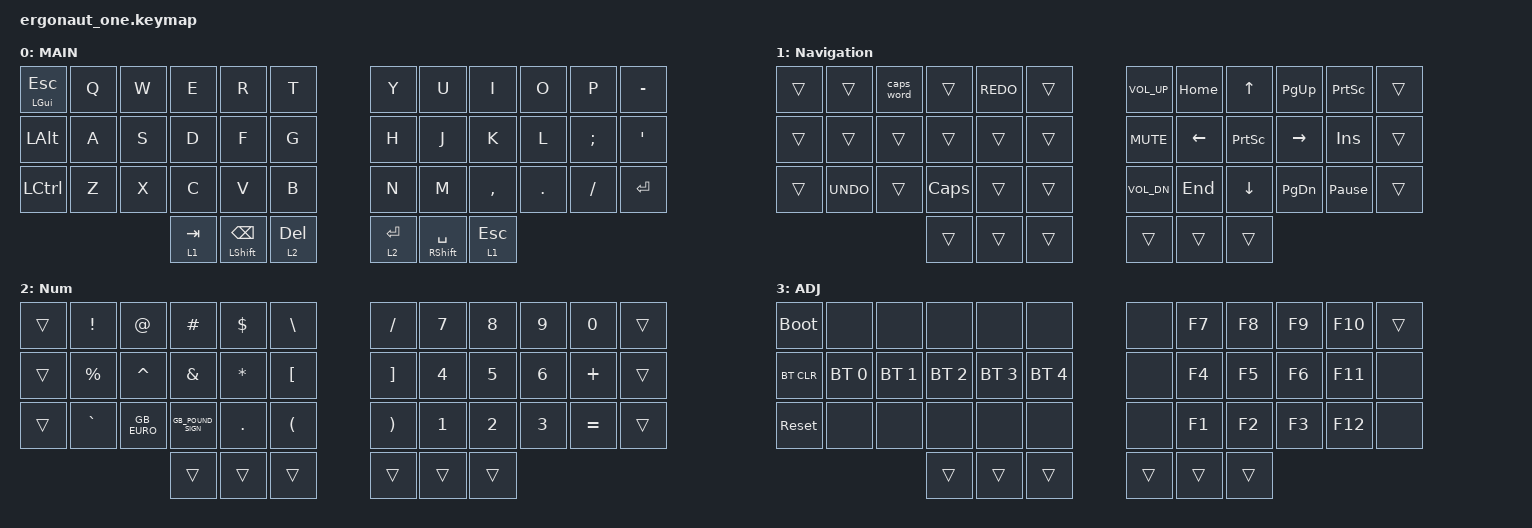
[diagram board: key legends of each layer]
#include <behaviors.dtsi>
#include <dt-bindings/zmk/bt.h>
#include <dt-bindings/zmk/keys.h>
#include "keys_en_gb.h"

#define DEF 0
#define LWR 1
#define RSE 2
#define ADJ 3

&lt { quick-tap-ms = <200>; };

&mt { quick-tap-ms = <200>; };

/ {
    behaviors {
        ts: thumb_space {
            compatible = "zmk,behavior-hold-tap";
            label = "THUMB_SPACE";
            #binding-cells = <2>;
            tapping-term-ms = <200>;
            quick-tap-ms = <200>;
            flavor = "tap-preferred"; // Tells ZMK: "If I hit another key quickly, I meant SPACE, not SHIFT"
            bindings = <&kp>, <&kp>;
        };
    };

    conditional_layers {
        compatible = "zmk,conditional-layers";

        tri-layer {
            if-layers = <1 2>;
            then-layer = <3>;
        };
    };

    keymap {
        compatible = "zmk,keymap";

        default_layer {
            display-name = "MAIN";
            bindings = <
&mt LEFT_GUI ESCAPE  &kp Q  &kp W  &kp E      &kp R                     &kp T         &kp Y        &kp U            &kp I         &kp O    &kp P          &kp MINUS
&kp LEFT_ALT         &kp A  &kp S  &kp D      &kp F                     &kp G         &kp H        &kp J            &kp K         &kp L    &kp SEMICOLON  &kp SQT
&kp LCTRL            &kp Z  &kp X  &kp C      &kp V                     &kp B         &kp N        &kp M            &kp COMMA     &kp DOT  &kp FSLH       &kp ENTER
                                   &lt 1 TAB  &mt LEFT_SHIFT BACKSPACE  &lt 2 DELETE  &lt 2 ENTER  &mt RSHFT SPACE  &lt 1 ESCAPE
            >;
        };

        Nav {
            display-name = "Navigation";
            bindings = <
&trans  &trans      &caps_word  &trans    &kp K_REDO  &trans  &kp C_VOL_UP  &kp HOME  &kp UP_ARROW     &kp PG_UP  &kp PRINTSCREEN  &trans
&trans  &trans      &trans      &trans    &trans      &trans  &kp C_MUTE    &kp LEFT  &kp PRINTSCREEN  &kp RIGHT  &kp INS          &trans
&trans  &kp K_UNDO  &trans      &kp CAPS  &trans      &trans  &kp C_VOL_DN  &kp END   &kp DOWN         &kp PG_DN  &kp PAUSE_BREAK  &trans
                                &trans    &trans      &trans  &trans        &trans    &trans
            >;
        };

        Num {
            bindings = <
&trans  &kp EXCL     &kp AT_SIGN  &kp HASH           &kp DOLLAR    &kp BACKSLASH         &kp SLASH              &kp N7        &kp NUMBER_8  &kp NUMBER_9  &kp N0     &trans
&trans  &kp PERCENT  &kp CARET    &kp AMPERSAND      &kp ASTERISK  &kp LEFT_BRACKET      &kp RIGHT_BRACKET      &kp NUMBER_4  &kp NUMBER_5  &kp NUMBER_6  &kp PLUS   &trans
&trans  &kp GRAVE    &kp GB_EURO  &kp GB_POUND_SIGN  &kp PERIOD    &kp LEFT_PARENTHESIS  &kp RIGHT_PARENTHESIS  &kp NUMBER_1  &kp NUMBER_2  &kp NUMBER_3  &kp EQUAL  &trans
                                  &trans             &trans        &trans                &trans                 &trans        &trans
            >;
        };

        Fn {
            display-name = "ADJ";
            bindings = <
&bootloader  &none         &none         &none         &none         &none         &none   &kp F7  &kp F8  &kp F9  &kp F10  &trans
&bt BT_CLR   &bt BT_SEL 0  &bt BT_SEL 1  &bt BT_SEL 2  &bt BT_SEL 3  &bt BT_SEL 4  &none   &kp F4  &kp F5  &kp F6  &kp F11  &none
&sys_reset   &none         &none         &none         &none         &none         &none   &kp F1  &kp F2  &kp F3  &kp F12  &none
                                         &trans        &trans        &trans        &trans  &trans  &trans
            >;
        };
    };
};
